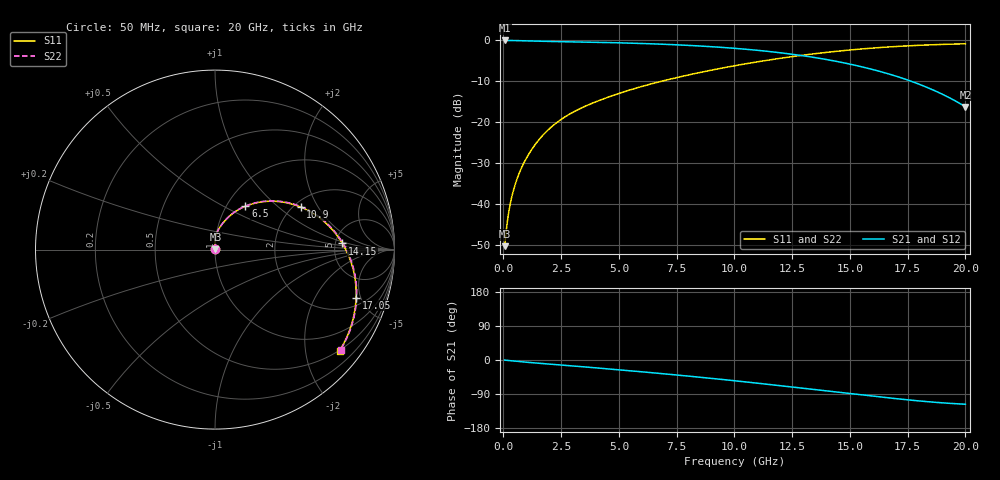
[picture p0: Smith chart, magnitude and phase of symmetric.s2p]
#  Hz  S  RI  R  50
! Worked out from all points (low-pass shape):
!   400 points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, 50 MHz to 20 GHz, reference 50 ohm
!   highest |S21| = -0.16 dB at 50 MHz (marker M1); lowest = -16.4 dB at 20 GHz (marker M2)
!   |S21| within 3 dB of the highest: start of sweep to 11.98 GHz
!   lowest |S11| = -50.4 dB at 50 MHz (marker M3), VSWR 1.01, Z = 50.3 + j0.164 ohm
!   |S11| at or under -10 dB: start of sweep to 6.926 GHz
!   |S22| runs from -50.4 to -1.0 dB; largest |S21 - S12| = 3.9e-05
!   S11 on the Smith chart (normalised r, x): 50 MHz: 1.01, +0.00; 6.5 GHz: 1.22, +0.65; 10.9 GHz: 2.18, +1.44; 14.15 GHz: 5.80, +0.81; 17.05 GHz: 2.66, -4.56; 20 GHz: 0.49, -2.74
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5e7  0.00256 0.00163  0.9815 -0.00527  0.9815 -0.00527  0.00254 0.00163
2e8  0.00242 0.00656  0.9808 -0.021  0.9808 -0.021  0.0024 0.00657
3e8  0.00224 0.0099  0.9799 -0.0314  0.9799 -0.0314  0.00221 0.00992
4e8  0.002 0.0133  0.9786 -0.0417  0.9786 -0.0417  0.00197 0.0133
6.5e8  0.00127 0.0223  0.9742 -0.0667  0.9742 -0.0667  0.00124 0.0223
1e9  0.000473 0.0362  0.9656 -0.0994  0.9656 -0.0994  0.000421 0.0363
1.45e9  0.00124 0.0563  0.9527 -0.1373  0.9527 -0.1373  0.00116 0.0564
2e9  0.00675 0.0825  0.9372 -0.1793  0.9372 -0.1793  0.00663 0.0826
2.65e9  0.0197 0.1123  0.9196 -0.2277  0.9196 -0.2277  0.0195 0.1125
3.4e9  0.0401 0.1428  0.8965 -0.2847  0.8965 -0.2847  0.0399 0.1431
4.8e9  0.0883 0.1929  0.8367 -0.3876  0.8367 -0.3876  0.0879 0.1934
6.5e9  0.1693 0.2414  0.7397 -0.4978  0.7397 -0.4978  0.1687 0.2424
6.7e9  0.1804 0.2457  0.7265 -0.5096  0.7265 -0.5096  0.1797 0.2468
8.45e9  0.2907 0.2689  0.5936 -0.5967  0.5936 -0.5968  0.29 0.2707
1.005e10  0.4101 0.2584  0.4504 -0.6435  0.4504 -0.6436  0.4094 0.261
1.09e10  0.4774 0.2368  0.3685 -0.6519  0.3685 -0.6519  0.4768 0.2399
1.335e10  0.6618 0.1018  0.1367 -0.6  0.1367 -0.6001  0.6621 0.1063
1.415e10  0.7098 0.0346  0.071 -0.5591  0.071 -0.5591  0.7106 0.0395
1.67e10  0.7863 -0.2285  -0.0669 -0.3761  -0.0669 -0.376  0.7891 -0.2228
1.705e10  0.7861 -0.267  -0.0761 -0.3481  -0.0761 -0.348  0.7893 -0.2612
1.865e10  0.7545 -0.4364  -0.0881 -0.2242  -0.0881 -0.2242  0.7591 -0.4307
2e10  0.6939 -0.5627  -0.0683 -0.1357  -0.0683 -0.1357  0.6996 -0.5575
